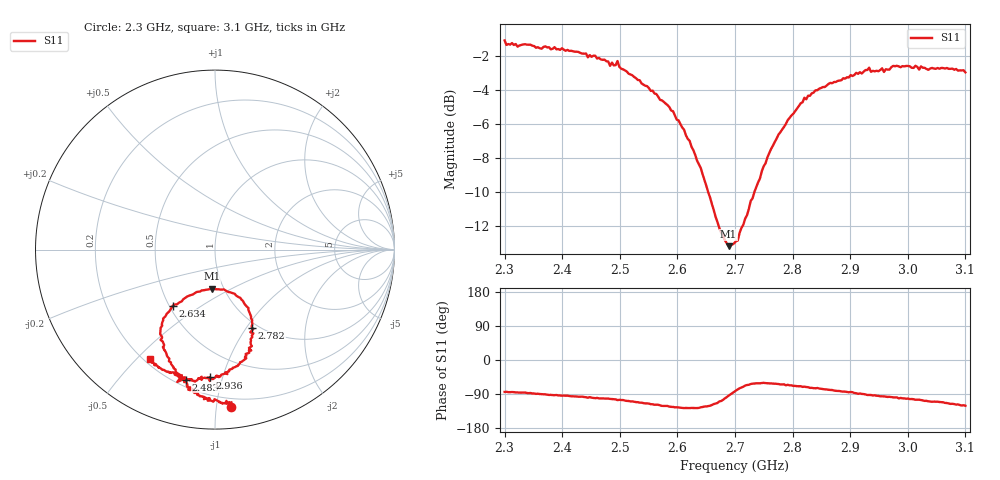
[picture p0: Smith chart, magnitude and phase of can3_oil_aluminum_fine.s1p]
# MHz S MA R 50
!  freq  S11
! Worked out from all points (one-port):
!   250 points, 2.3 GHz to 3.1 GHz, reference 50 ohm
!   lowest |S11| = -13.2 dB at 2.689 GHz (marker M1), VSWR 1.56, Z = 44.1 - j20.2 ohm
!   |S11| at or under -10 dB: 2.653 GHz to 2.734 GHz (80.71 MHz wide, 3 % of centre)
!   S11 on the Smith chart (normalised r, x): 2.3 GHz: 0.14, -1.10; 2.483 GHz: 0.24, -0.77; 2.634 GHz: 0.52, -0.38; 2.782 GHz: 0.94, -1.06; 2.936 GHz: 0.31, -0.91; 3.1 GHz: 0.22, -0.55
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2300  0.8815 -84.2
2303.213  0.855 -83.8
2402.811  0.8279 -93.8
2444.578  0.7862 -99.5
2447.791  0.798 -98.0
2457.43  0.7944 -100.8
2483.133  0.7421 -102.7
2495.984  0.7667 -105.9
2502.41  0.728 -105.7
2573.092  0.5874 -121.1
2602.008  0.5129 -125.3
2634.137  0.3901 -127.0
2688.755  0.2185 -94.3
2701.606  0.2259 -80.8
2749.799  0.3757 -60.2
2781.928  0.4822 -64.7
2801.205  0.5363 -68.3
2839.759  0.6287 -74.6
2900.803  0.697 -84.3
2913.655  0.7028 -89.4
2932.932  0.7329 -92.3
2936.145  0.7126 -92.4
2981.124  0.7423 -98.7
2984.337  0.7395 -101.4
3000.402  0.7419 -101.9
3042.169  0.7316 -110.3
3061.446  0.7311 -111.6
3100  0.7102 -120.7
